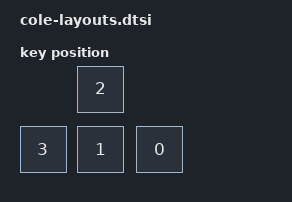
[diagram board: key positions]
#include <physical_layouts.dtsi>

/ {
    physical_layout_cole: physical_layout_cole {
        compatible = "zmk,physical-layout";
        display-name = "cole";
        keys  //                     w   h    x    y     rot    rx    ry
            = <&key_physical_attrs 100 100  365  121       0   365   121>
            , <&key_physical_attrs 100 100  247  121       0   247   121>
            , <&key_physical_attrs 100 100  247    0       0   247     0>
            , <&key_physical_attrs 100 100  132  121       0   132   121>
            ;
    };
};
